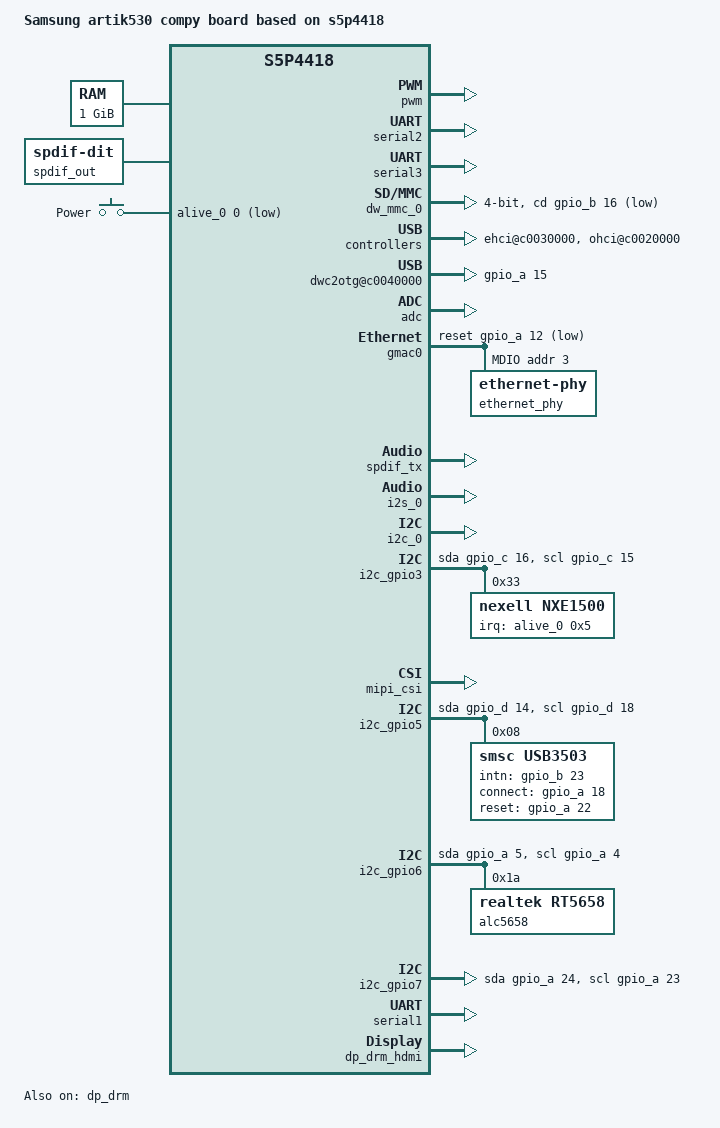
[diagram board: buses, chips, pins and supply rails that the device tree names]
/*
 * Copyright (C) 2017 Samsung Electronics.
 * Author: Jaewon Kim <jaewon02.kim@samsung.com>
 *
 * This program is free software; you can redistribute it and/or
 * modify it under the terms of the GNU General Public License
 * as published by the Free Software Foundation; either version 2
 * of the License, or (at your option) any later version.
 *
 * This program is distributed in the hope that it will be useful,
 * but WITHOUT ANY WARRANTY; without even the implied warranty of
 * MERCHANTABILITY or FITNESS FOR A PARTICULAR PURPOSE.  See the
 * GNU General Public License for more details.
 *
 * You should have received a copy of the GNU General Public License
 * along with this program.  If not, see <http://www.gnu.org/licenses/>.
 */

/dts-v1/;
#include <dt-bindings/interrupt-controller/irq.h>
#include <dt-bindings/input/input.h>
#include "s5p4418-artik530.dtsi"

#define PMIC_PDATA_INIT(_id, _rname, _minuv,	\
			_maxuv, _init_uv, _init_enable,		\
			_set_init_uV, _slp_slots)	\
		regulator-name = _rname;		\
		regulator-min-microvolt = <_minuv>;	\
		regulator-max-microvolt = <_maxuv>;	\
		nx,id = <_id>;				\
		nx,init_enable = <_init_enable>;	\
		nx,init_uV = <_init_uv>;		\
		nx,set_init_uV = <_set_init_uV>;	\
		nx,sleep_slots = <_slp_slots>;

/ {
	model = "Samsung artik530 compy board based on s5p4418";
	compatible = "samsung,artik530-compy", "samsung,artik530",
		   "nexell,s5p4418";

	memory {
		device_type = "memory";
		reg = <0x71000000 0x40000000>;
	};

	reserved-memory {
		#address-cells = <1>;
		#size-cells = <1>;
		ranges;

		secure_memory@b0000000 {
			reg = <0xB0000000 0x1000000>;
			no-map;
		};
	};

	psci {
		compatible = "arm,psci-0.2";
		method = "smc";
	};

	aliases {
		i2c3 = &i2c_gpio3;
		i2c5 = &i2c_gpio5;
		i2c6 = &i2c_gpio6;
		i2c7 = &i2c_gpio7;
	};

	nx-v4l2 {
		status = "okay";
	};

	soc {

		clocks {
			vip0:vip@c00c1000 { clock-frequency = <300000000>;};
			i2c0:i2c@c00ae000 { clock-frequency = <200000000>;};
			i2c1:i2c@c00af000 { clock-frequency = <200000000>;};
			i2c2:i2c@c00b0000 { clock-frequency = <200000000>;};
			pwm0:pwm0@c00ba000 {
				clk-input = <I_PLL2>;
				clock-frequency = <10000000>;
			};
			pwm1:pwm1@c00ba000 {
				clk-input = <I_PLL2>;
				clock-frequency = <10000000>;
			};
			pwm2:pwm2@c00be000 {
				clk-input = <I_PLL2>;
				clock-frequency = <10000000>;
			};
			pwm3:pwm3@c00be000 {
				clk-input = <I_PLL2>;
				clock-frequency = <10000000>;
			};
		};

		timer@c0017000 {
			clocks =  <&timer0>, <&timer1>;
			clock-names = "timer0", "timer1";
		};

		pwm:pwm@c0018000 {
			clocks =  <&pwm0>, <&pwm1>, <&pwm2>, <&pwm3>;
			clock-names = "pwm-tclk0", "pwm-tclk1", "pwm-tclk2", "pwm-tclk3";
		};

		dynamic-freq@bb000 {
			supply_name = "vdd_core_regulator";
			vdd_core_regulator-supply = <&VCC_DCDC0>;
		};

		serial2:serial@c00a2000 {
			status ="okay";
		};

		serial3:serial@c00a3000 {
			status ="okay";
		};

		dw_mmc_0:dw_mmc@c0062000 {
			num-slots = <1>;
			bus-width = <4>;
			cap-sd-highspeed;
			clock-frequency = <100000000>;
			card-detect-delay = <200>;
			disable-wp;
			cd-gpios = <&gpio_b 16 0>;
			cd-inverted;
			nexell,drive_dly = <0x0>;
			nexell,drive_shift = <0x02>;
			nexell,sample_dly = <0x00>;
			nexell,sample_shift = <0x01>;
			status = "okay";
		};

		nexell_usbphy: nexell-usbphy@c0012000 {
			status = "okay";
		};

		ehci@c0030000 {
			samsung,vbus-gpio = <&gpio_a 16 0>;
			status = "okay";
			port@0 {
				status = "okay";
			};
			port@1 {
				status = "okay";
			};
		};

		ohci@c0020000 {
			status = "okay";
			port@0 {
				status = "okay";
			};
		};

		dwc2otg@c0040000 {
			gpios = <&gpio_a 15 0>;
			status = "okay";
		};

		pinctrl@C0010000 {
			pinctrl-names = "default";
			pinctrl-0 = <&initial>;

			initial: initial-state {
				/* External GPIO */
				PIN_OUT(gpioa-0, LOW, FUNC0, NONE, STR0);
				PIN_OUT(gpioa-14, LOW, FUNC0, NONE, STR0);
				PIN_OUT(gpioa-25, LOW, FUNC0, NONE, STR0);
				PIN_OUT(gpioa-26, LOW, FUNC0, NONE, STR0);
				PIN_OUT(gpioa-27, LOW, FUNC0, NONE, STR0);
				PIN_OUT(gpiob-14, LOW, FUNC2, NONE, STR0);
				PIN_OUT(gpioe-0, LOW, FUNC0, NONE, STR0);
				PIN_OUT(gpioe-1, LOW, FUNC0, NONE, STR0);
				PIN_OUT(gpioe-2, LOW, FUNC0, NONE, STR0);

				/* Module NC */
				PIN_OUT(gpioc-1, LOW, FUNC1, NONE, STR0);
				PIN_OUT(gpioc-2, LOW, FUNC1, NONE, STR0);
				PIN_OUT(gpioc-4, LOW, FUNC1, NONE, STR0);
				PIN_OUT(gpioc-7, LOW, FUNC1, NONE, STR0);
				PIN_OUT(gpioc-24, LOW, FUNC1, NONE, STR0);
				PIN_OUT(gpioc-28, LOW, FUNC0, NONE, STR0);
				PIN_OUT(gpiod-29, LOW, FUNC0, NONE, STR0);
				PIN_OUT(gpiod-30, LOW, FUNC0, NONE, STR0);
				PIN_OUT(gpioe-12, LOW, FUNC0, NONE, STR0);
				PIN_OUT(gpioe-13, LOW, FUNC0, NONE, STR0);
				PIN_OUT(gpioe-22, LOW, FUNC0, NONE, STR0);
				PIN_OUT(gpioe-23, LOW, FUNC0, NONE, STR0);

				/* Board NC */
				PIN_OUT(gpioa-6, LOW, FUNC0, NONE, STR0);
				PIN_OUT(gpioa-9, LOW, FUNC0, NONE, STR0);
				PIN_OUT(gpioa-10, LOW, FUNC0, NONE, STR0);
				PIN_OUT(gpioa-13, LOW, FUNC0, NONE, STR0);
				PIN_OUT(gpioa-19, LOW, FUNC0, NONE, STR0);
				PIN_OUT(gpioa-20, LOW, FUNC0, NONE, STR0);
				PIN_OUT(gpiob-8, LOW, FUNC0, NONE, STR0);
				PIN_OUT(gpioc-0, LOW, FUNC1, NONE, STR0);
				PIN_OUT(gpioc-17, LOW, FUNC1, NONE, STR0);
				PIN_OUT(gpioc-25, LOW, FUNC1, NONE, STR0);
				PIN_OUT(gpioc-26, LOW, FUNC1, NONE, STR0);
				PIN_OUT(gpioc-27, LOW, FUNC1, NONE, STR0);
				PIN_OUT(gpioc-29, LOW, FUNC0, NONE, STR0);
				PIN_OUT(gpioc-30, LOW, FUNC0, NONE, STR0);
				PIN_OUT(gpioc-31, LOW, FUNC0, NONE, STR0);
				PIN_OUT(gpiod-0, LOW, FUNC0, NONE, STR0);
				PIN_OUT(gpiod-6, LOW, FUNC0, NONE, STR0);
				PIN_OUT(gpiod-7, LOW, FUNC0, NONE, STR0);
				PIN_OUT(gpiod-28, LOW, FUNC0, NONE, STR0);
				PIN_OUT(gpiod-31, LOW, FUNC0, NONE, STR0);
				PIN_OUT(gpioe-3, LOW, FUNC0, NONE, STR0);
				PIN_OUT(gpioe-30, LOW, FUNC1, NONE, STR0);

				/* LED & Switch */
				PIN_OUT(gpiob-11, LOW, FUNC2, NONE, STR0);
				PIN_IN(gpiob-18, FUNC2, NONE, STR0);
				PIN_IN(gpiob-22, FUNC1, NONE, STR0);
				PIN_OUT(gpioe-31, LOW, FUNC1, NONE, STR0);
			};

			key_pwr:key_pwr {
				nexell,pins = "alive-0";
				nexell,pin-function = <NX_PIN_FUNC0>;
				nexell,pin-pull = <NX_PIN_PULL_UP>;
				nexell,pin-strength = <NX_PIN_STR0>;
			};

			pmic_irq:pmic_irq{
				nexell,pins = "alive-5";
				nexell,pin-function = <NX_PIN_FUNC0>;
				nexell,pin-pull = <NX_PIN_PULL_UP>;
				nexell,pin-strength = <NX_PIN_STR0>;
			};
		};

		adc:adc@c0053000 {
			status = "okay";
		};

		gmac0:ethernet@c0060000 {
			pinctrl-names = "default";
			pinctrl-0 = <&gmac_pins>;

			status = "okay";
			#address-cells = <0x1>;
			#size-cells = <0x0>;

			snps,phy-addr = <3>;
			snps,reset-gpio = <&gpio_a 12 0>;
			snps,reset-active-low;
			snps,reset-delays-us = <0 10000 30000>;

			mdio {
				#address-cells = <1>;
				#size-cells = <0>;

				ethernet_phy: ethernet-phy@3 {
					reg = <3>;
					fixed-link {
						speed = <1000>;
						full-duplex;
					};
				};
			};
		};

		watchdog@c0019000 {
			status = "okay";
		};

		spdif_tx: spdiftx@c0059000 {
			#sound-dai-cells = <1>;
			pcm-bit = <16>;
			sample_rate = <48000>;
			status = "okay";
		};

		i2s_0:i2s@c0055000 {
			#sound-dai-cells = <1>;
			master-mode = <1>;
			mclk-in = <0>;
			trans-mode = <0>;
			frame-bit = <32>;
			sample-rate = <48000>;
			pre-supply-mclk = <1>;
			status = "okay";
		};

		i2c_0:i2c@c00a4000 {
			status = "okay";
			#address-cells = <1>;
			#size-cells = <0>;
			rate = <400000>;
		};

		i2c_gpio3: i2c@3 {
			compatible = "i2c-gpio";
			gpios = <&gpio_c 16 0	/* SDA */
					&gpio_c 15 0		/* SCL */
					>;
			#address-cells = <1>;
			#size-cells = <0>;
			status = "okay";

			nxe1500@33 {
				compatible = "nexell,nxe1500";
				reg = <0x33>;
				interrupt-parent = <&alive_0>;
				interrupts = <0x5 IRQ_TYPE_EDGE_FALLING>;
				pinctrl-names = "default";
				pinctrl-0 = <&pmic_irq>;
			};
		};

		vip_0:vip@c0063000 {
			status = "okay";
		};

		mipi_csi:mipi_csi@c00d0000 {
			data_lane = <2>;
			pllval = <750>;
			hssettle = <2 7 15 7>;
			status = "okay";
		};

		clipper_0:clipper0@c0063000 {
			interface_type = <NX_CAPTURE_INTERFACE_MIPI_CSI>;
			gpios = <&gpio_a 17 0 &gpio_a 3 0 &gpio_a 6 0>;
			data_order = <NX_VIN_Y0CBY1CR>;
			status = "okay";
			sensor {
				type = <NX_CAPTURE_SENSOR_I2C>;
				i2c_name = "ov5640";
				i2c_adapter = <0>;
				addr = <0x3C>;
			};
			power {
				enable_seq = <
					NX_ACTION_START NX_ACTION_TYPE_GPIO 1 1 0 NX_ACTION_END
					NX_ACTION_START NX_ACTION_TYPE_GPIO 0 0 5 NX_ACTION_END
					NX_ACTION_START NX_ACTION_TYPE_GPIO 2 1 100 NX_ACTION_END
					NX_ACTION_START NX_ACTION_TYPE_GPIO 1 0 10 NX_ACTION_END
					NX_ACTION_START NX_ACTION_TYPE_GPIO 0 1 50 NX_ACTION_END
					>;

				disable_seq = <
					NX_ACTION_START NX_ACTION_TYPE_GPIO 0 0 1 NX_ACTION_END
					NX_ACTION_START NX_ACTION_TYPE_GPIO 1 1 1 NX_ACTION_END
					NX_ACTION_START NX_ACTION_TYPE_GPIO 2 0 2 NX_ACTION_END
					>;
			};
		};

		scaler@c0066000 {
			status = "okay";
		};

		video-codec@c0080000 {
			status = "okay";
			sram = <0 0>;
		};
	};	/*** soc ***/

	i2c_gpio5: i2c@5 {
		compatible = "i2c-gpio";
		gpios = <&gpio_d 14 0	/* sda */
			&gpio_d 18 0	/* scl */
			>;
		i2c-gpio,delay-us = <10>;
		#address-cells = <1>;
		#size-cells = <0>;

		usb3503: usb3503@08 {
			compatible = "smsc,usb3503";
			reg = <0x08>;
			intn-gpios = <&gpio_b 23 0>;
			connect-gpios = <&gpio_a 18 0>;
			reset-gpios = <&gpio_a 22 0>;
			initial-mode = <1>;
		};
	};

	i2c_gpio6:i2c@6 {
		compatible = "i2c-gpio";
		gpios = <&gpio_a 5 0 /* sda */
			&gpio_a 4 0 /* scl */
			>;
		i2c-gpio,delay-us = <1>;
		#address-cells = <1>;
		#size-cells = <0>;

		alc5658: alc5658@1a {
			#sound-dai-cells = <0>;
			compatible = "realtek,rt5658";
			reg = <0x1a>;
		};
	};

	i2c_gpio7:i2c@7 {
		compatible = "i2c-gpio";
		gpios = <&gpio_a 24 0 /* sda */
			&gpio_a 23 0 /* scl */
			>;
		i2c-gpio,delay-us = <100>;
		#address-cells = <1>;
		#size-cells = <0>;
	};

	sound0: sound@0 {
		compatible = "simple-audio-card";
		simple-audio-card,name = "Artik530 raptor Audio";
		simple-audio-card,mclk-fs = <256>;
		simple-audio-card,widgets =
		    "Headphone", "Out Jack",
		    "Microphone", "In Jack";
		simple-audio-card,routing =
		    "Out Jack", "HPOL",
		    "Out Jack", "HPOR",
		    "IN2P", "In Jack",
		    "IN2P", "In Jack";
		status = "okay";

		simple-audio-card,dai-link@0 {
		    format = "i2s";
		    cpu {
			sound-dai = <&i2s_0 0>;
		    };

		    codec {
			sound-dai = <&alc5658>;
		    };
		};

		simple-audio-card,dai-link@1 {
		    cpu {
			sound-dai = <&spdif_tx 0>;
		    };

		    codec {
			sound-dai = <&spdif_out>;
		    };
		};
	};

	spdif_out: spdif-out {
		#sound-dai-cells = <0>;
		compatible = "linux,spdif-dit";
	};

	gpio_keys {
		compatible = "gpio-keys";
		#address-cells = <1>;
		#size-cells = <0>;
		pinctrl-names = "default";
		pinctrl-0 = <&key_pwr>;

		power {
			label = "Power";
			gpios = <&alive_0 0 1>;
			linux,code = <KEY_POWER>;
			gpio-key,wakeup;
		};
	};

	regulators {
		VCC_DCDC0:dcdc1
				{ PMIC_PDATA_INIT( 0,
				"nxe2000_dcdc1",
				900000, 1500000,
				1250000, 1, 0, 0x4)
				regulator-always-on;
				regulator-boot-on;};
		VCC_DCDC1:dcdc2
				{ PMIC_PDATA_INIT( 1,
				"nxe2000_dcdc2",
				1000000, 1500000,
				1100000, 1, 0, 0x4)
				regulator-always-on;
				regulator-boot-on;};
		VCC_DCDC2:dcdc3
				{ PMIC_PDATA_INIT( 2,
				"nxe2000_dcdc3",
				1000000, 1800000,
				1500000, 1, 0, 0x4)
				regulator-always-on;
				regulator-boot-on;};
		VCC_DCDC3:dcdc4
				{ PMIC_PDATA_INIT( 3,
				"nxe2000_dcdc4",
				1000000, 1800000,
				1500000, 1, 0, 0xF)
				regulator-always-on;
				regulator-boot-on;};
		VCC_LDO0:ldo1
				{ PMIC_PDATA_INIT( 5,
				"nxe2000_ldo1",
				1000000, 3500000,
				3300000, 1, 1, 0x0)
				regulator-always-on;
				regulator-boot-on;};
		VCC_LDO1:ldo2
				{ PMIC_PDATA_INIT( 6,
				"nxe2000_ldo2",
				1000000, 3500000,
				1800000, 1, 1, 0x2)
				regulator-always-on;
				regulator-boot-on;};
		VCC_LDO2:ldo3
				{ PMIC_PDATA_INIT( 7,
				"nxe2000_ldo3",
				1000000, 3500000,
				3300000, 1, 1, 0x0)
				regulator-always-on;
				regulator-boot-on;};
		VCC_LDO3:ldo4
				{ PMIC_PDATA_INIT( 8,
				"nxe2000_ldo4",
				1000000, 3500000,
				1200000, 0, 1, 0x2)
				regulator-always-on;
				regulator-boot-on;};
		VCC_LDO4:ldo5
				{ PMIC_PDATA_INIT( 9,
				"nxe2000_ldo5",
				1000000, 3500000,
				3300000, 0, 1, 0x0)};
		VCC_RTC0:ldortc1
				{ PMIC_PDATA_INIT(15,
				"nxe2000_rtc1",
				1700000, 3500000,
				1800000, 1, 1, 0xF)
				regulator-always-on;
				regulator-boot-on;};
		VCC_RTC1:ldortc2
				{ PMIC_PDATA_INIT(16,
				"nxe2000_rtc2",
				1000000, 3500000,
				1000000, 1, 1, 0xF)
				regulator-always-on;
				regulator-boot-on;};
	}; /* regulators */

	nx-devfreq {
		pll = <3>;
		supply_name = "vdd_arm_regulator";
		vdd_arm_regulator-supply = <&VCC_DCDC1>;
		status = "okay";
	};
};

&pwm {
	pinctrl-names = "default";
	pinctrl-0 = <&pwm0_pin &pwm2_pin>;
	samsung,pwm-outputs = <0>, <2>;
	status = "okay";
};

&serial1 {
	status = "okay";
	pinctrl-0 = <&serial1_pin>, <&serial1_flow_cts>, <&serial1_flow_rts>;
};

&dp_drm {
	status = "okay";
	ports {
		port@0 {
			reg = <0>;
			back_color = < 0x0 >;
			color_key = < 0x0 >;
			plane-names = "video", "primary", "rgb";
		};
		port@1 {
			reg = <1>;
			back_color = < 0x0 >;
			color_key = < 0x0 >;
			plane-names = "video", "primary";
		};
	};
};

&dp_drm_hdmi {
	ddc-i2c-bus = <&i2c_gpio7>;
	enable-gpios = <&gpio_a 21 0>;
	status = "ok";
};
